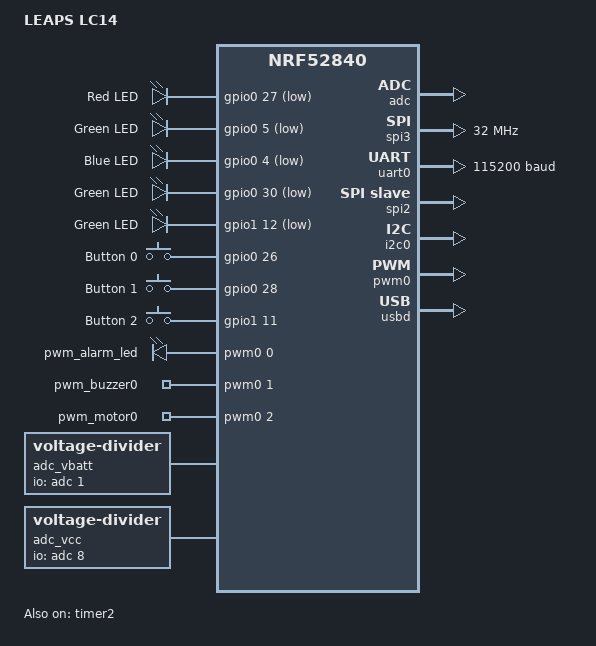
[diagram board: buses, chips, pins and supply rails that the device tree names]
/*
 * LEAPS - Low Energy Accurate Positioning System.
 *
 * (c) 2024, LEAPS - All rights reserved.
 *
 * SPDX-License-Identifier: Apache-2.0
 */

/dts-v1/;
#include <nordic/nrf52840_qiaa.dtsi>
#include "leaps_lc14-pinctrl.dtsi"

/ {
	model = "LEAPS LC14";
	compatible = "leaps,lc14";

	chosen {
		zephyr,console = &uart0;
		zephyr,shell-uart = &uart0;
		zephyr,uart-mcumgr = &uart0;
		zephyr,sram = &sram0;
		zephyr,flash = &flash0;
		zephyr,code-partition = &slot1_partition;
	};

	leds {
		compatible = "gpio-leds";

		led0: led_0 {
		  gpios = <&gpio0 27 GPIO_ACTIVE_LOW>;
		  label = "Red LED";
		};

		led1: led_1 {
		  gpios = <&gpio0 5 GPIO_ACTIVE_LOW>;
		  label = "Green LED";
		};

		led2: led_2 {
		  gpios = <&gpio0 4 GPIO_ACTIVE_LOW>;
		  label = "Blue LED";
		};

		led3: led_3 {
		  gpios = <&gpio0 30 GPIO_ACTIVE_LOW>;
		  label = "Green LED";
		};

		led4: led_4 {
		  gpios = <&gpio1 12 GPIO_ACTIVE_LOW>;
		  label = "Green LED";
		};
	};

	buttons {
		compatible = "gpio-keys";

		button0: button_0 {
			gpios = <&gpio0 26 GPIO_PULL_UP>;
			label = "Button 0";
		};

		button1: button_1 {
			gpios = <&gpio0 28 GPIO_PULL_UP>;
			label = "Button 1";
		};

		button2: button_2 {
			gpios = <&gpio1 11 GPIO_PULL_UP>;
			label = "Button 2";
		};
	};

	generic-gpios {
		compatible = "gpio-generic";

		uwb0_reset_pin: gpio_0 {
			gpios = <&gpio0 15 0>;
			label = "DW3000 Reset pin";
		};

		uwb0_irq_pin: gpio_1 {
			gpios = <&gpio0 25 0>;
			label = "DW3000 IRQ pin";
		};

		uwb0_cs_pin: uwb0_cs {
			gpios = <&gpio0 20 GPIO_ACTIVE_LOW>;
			label = "DW3000 CS pin";
		};

		uart_tx_pin: uart_tx {
			gpios = <&gpio1 13 0>;
			label = "UART TX pin";
		};

		uart_rx_pin: uart_rx {
			gpios = <&gpio1 15 0>;
			label = "UART RX pin";
		};

		api_spis_csn_pin: api_spis_csn {
			gpios = <&gpio0 29 0>;
			label = "Serial API SPI CS pin";
		};

		api_uart_rx_pin: api_uart_rx {
			gpios = <&gpio1 15 0>;
			label = "Serial API UART RX pin";
		};

		api_event_pin: api_event {
			gpios = <&gpio0 31 0>;
			label = "Serial API event pin";
		};

		acc_int_pin: acc_int {
			gpios = <&gpio1 1 0>;
			label = "ACC interrupt pin";
		};
	};

	pwmleds {
		compatible = "pwm-leds";

		pwm_alarm_led: pwm_alarm_led_0 {
			pwms = <&pwm0 0 PWM_MSEC(20) PWM_POLARITY_NORMAL>;
		};

		pwm_buzzer0: pwm_buzzer_0 {
			pwms = <&pwm0 1 PWM_MSEC(20) PWM_POLARITY_NORMAL>;
		};

		pwm_motor0: pwm_motor_0 {
			pwms = <&pwm0 2 PWM_MSEC(20) PWM_POLARITY_NORMAL>;
		};
	};

	/* These aliases are provided for application compatibility */
	aliases {
		led0 = &led0;
		led1 = &led1;
		led2 = &led2;
		ledr = &led0;
		ledg = &led1;
		ledb = &led2;

		ledg-latup = &led3;
		ledg-latdn = &led4;

		sw0 = &button0;
		sw1 = &button1;
		sw2 = &button2;

		hr-timer-1 = &timer2;
		uart-api = &uart0;
		uart-api-rx = &api_uart_rx_pin;
		spis-api = &spi2;
		uwb0-spi = &spi3;
		hr-timer-2 = &rtc2;
		uwb0-reset = &uwb0_reset_pin;
		uwb0-irq = &uwb0_irq_pin;
		uwb0-cs = &uwb0_cs_pin;
		acc-int = &acc_int_pin;
		uart-tx-pin = &uart_tx_pin;
		uart-rx-pin = &uart_rx_pin;

		pwm-alarm-led = &pwm_alarm_led;
		pwm-buzzer0 = &pwm_buzzer0;
		pwm-motor0 = &pwm_motor0;
	};

	/* Battery voltage measurement */
	adc_vbatt {
			compatible = "voltage-divider";
			io-channels = <&adc 1>;
			output-ohms = <10000000>;
			full-ohms = <(10000000 + 4300000)>;
	};

	/* VCC self voltage measurement */
	adc_vcc {
			compatible = "voltage-divider";
			io-channels = <&adc 8>;
			output-ohms = <1>;
			full-ohms = <1>;
	};
};

&adc {
	status = "okay";
};

&flash0 {
	/*
	 * For more information, see:
	 * http://docs.zephyrproject.org/latest/guides/dts/index.html#flash-partitions
	 */
	partitions {
		compatible = "fixed-partitions";
		#address-cells = <1>;
		#size-cells = <1>;

		boot_partition: partition@0 {
			label = "bootloader";
			reg = <0x000000000 0x0000B000>;
		};

		storage1_partition: partition@B000 {
			label = "storage1";
			reg = <0x0000B000 0x00001000>;
		};

		storage2_partition: partition@C000 {
			label = "storage2";
			reg = <0x0000C000 0x00001000>;
		};

		slot0_partition: partition@D000 {
			label = "image-0";
			reg = <0x0000D000 0x000040000>;
		};

		slot1_partition: partition@80000 {
			label = "image-1";
			reg = <0x0004D000 0x0000B3000>;
		};
	};
};

&gpiote {
	status = "okay";
};

&gpio0 {
	status = "okay";
	sense-edge-mask = <0xB4000000>;
};

&gpio1 {
	status = "okay";
	sense-edge-mask = <0x8802>;
};

&timer2 {
	status = "okay";
};

&spi0 {
	/* Cannot be used together with i2c0. */
	/* status = "okay"; */
};

&spi3 {
	status = "okay";
	cs-gpios = <&gpio0 20 GPIO_ACTIVE_LOW>;
	clock-frequency = <32000000>;
	pinctrl-0 = <&spi3_default>;
	pinctrl-1 = <&spi3_sleep>;
	pinctrl-names = "default", "sleep";
};

&uart0 {
	status = "okay";
	compatible = "nordic,nrf-uarte";
	current-speed = <115200>;
	pinctrl-0 = <&uart0_default>;
	pinctrl-1 = <&uart0_sleep>;
	pinctrl-names = "default", "sleep";
};

&spi2 {
	compatible = "nordic,nrf-spis";
	status = "okay";
	cs-gpios = <&gpio0 29 0>;
	def-char = <0>;
	pinctrl-0 = <&spi2_default>;
	pinctrl-1 = <&spi2_sleep>;
	pinctrl-names = "default", "sleep";
};

&i2c0 {
	compatible = "nordic,nrf-twim";
	status = "okay";
	pinctrl-0 = <&i2c0_default>;
	pinctrl-1 = <&i2c0_sleep>;
	pinctrl-names = "default", "sleep";
};

&pwm0 {
	status = "okay";
	pinctrl-0 = <&pwm0_default>;
	pinctrl-1 = <&pwm0_sleep>;
	pinctrl-names = "default", "sleep";
};

&usbd {
	compatible = "nordic,nrf-usbd";
	status = "okay";
};
